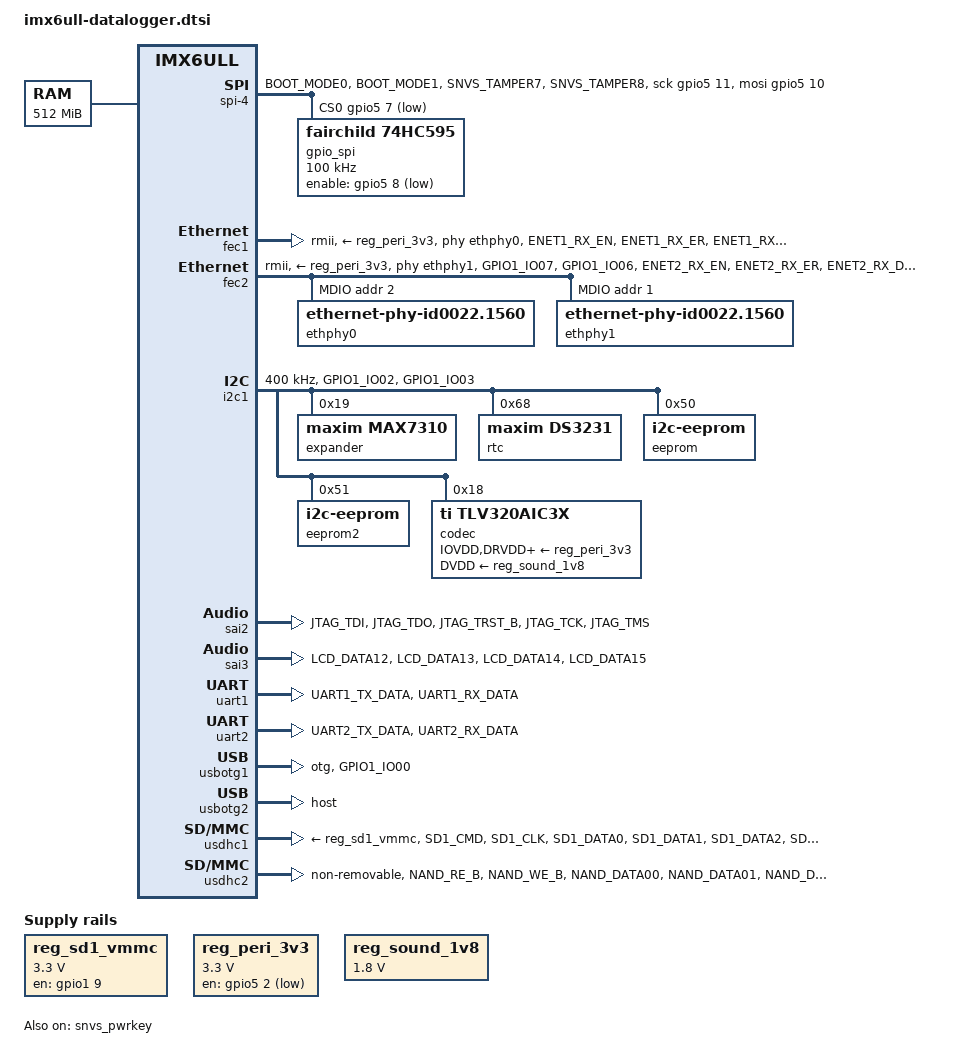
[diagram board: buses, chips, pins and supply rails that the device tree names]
// SPDX-License-Identifier: GPL-2.0
//
// Copyright (C) 2015 Freescale Semiconductor, Inc.

#include <dt-bindings/media/video-interfaces.h>
#include <dt-bindings/sound/tlv320aic31xx.h>

/ {
	chosen {
		stdout-path = &uart1;
	};

	memory@80000000 {
		device_type = "memory";
		reg = <0x80000000 0x20000000>;
	};

	reserved-memory {
		#address-cells = <1>;
		#size-cells = <1>;
		ranges;

		linux,cma {
			compatible = "shared-dma-pool";
			reusable;
			size = <0xa000000>;
			linux,cma-default;
		};
	};

	reg_sd1_vmmc: regulator-sd1-vmmc {
		compatible = "regulator-fixed";
		regulator-name = "VSD_3V3";
		regulator-min-microvolt = <3300000>;
		regulator-max-microvolt = <3300000>;
		gpio = <&gpio1 9 GPIO_ACTIVE_HIGH>;
		off-on-delay-us = <20000>;
		enable-active-high;
	};

	reg_peri_3v3: regulator-peri-3v3 {
		compatible = "regulator-fixed";
		pinctrl-names = "default";
		pinctrl-0 = <&pinctrl_peri_3v3>;
		regulator-name = "VPERI_3V3";
		regulator-min-microvolt = <3300000>;
		regulator-max-microvolt = <3300000>;
		gpio = <&gpio5 2 GPIO_ACTIVE_LOW>;
		/*
		 * If you want to want to make this dynamic please
		 * check schematics and test all affected peripherals:
		 *
		 * - sensors
		 * - ethernet phy
		 * - can
		 * - bluetooth
		 * - wm8960 audio codec
		 * - ov5640 camera
		 */
		regulator-always-on;
	};

	reg_sound_1v8: regulator-sound-1v8 {
		compatible = "regulator-fixed";
		regulator-name = "sound-1v8";
		regulator-min-microvolt = <1800000>;
		regulator-max-microvolt = <1800000>;
	};

	spi-4 {
		compatible = "spi-gpio";
		pinctrl-names = "default";
		pinctrl-0 = <&pinctrl_spi4>;
		status = "okay";
		sck-gpios = <&gpio5 11 0>;
		mosi-gpios = <&gpio5 10 0>;
		cs-gpios = <&gpio5 7 GPIO_ACTIVE_LOW>;
		num-chipselects = <1>;
		#address-cells = <1>;
		#size-cells = <0>;

		gpio_spi: gpio@0 {
			compatible = "fairchild,74hc595";
			gpio-controller;
			#gpio-cells = <2>;
			reg = <0>;
			registers-number = <1>;
			registers-default = /bits/ 8 <0x57>;
			spi-max-frequency = <100000>;
			enable-gpios = <&gpio5 8 GPIO_ACTIVE_LOW>;
		};
	};

	sound: sound {
		compatible = "simple-audio-card";
		simple-audio-card,name = "tlv320aic3x";
		simple-audio-card,format = "i2s";
		simple-audio-card,bitclock-master = <&dailink_master>;
		simple-audio-card,frame-master = <&dailink_master>;
		simple-audio-card,widgets =
			"Microphone", "Microphone Jack",
			"Headphone Output", "Headphone Jack";
		simple-audio-card,routing =
			"Headphone Jack", "HPLOUT",
			"Headphone Jack", "HPROUT",
			"LINE1L", "Left Line1L Mux",
			"LINE1R", "Left Line1R Mux";

		simple-audio-card,cpu {
			sound-dai = <&sai2>;
			clocks = <&clks IMX6UL_CLK_SAI2>;
			system-clock-direction-out;
		};
		
		dailink_master: simple-audio-card,codec {
			sound-dai = <&codec>;
			clocks = <&clks IMX6UL_CLK_SAI2>;
			clock-names = "mclk";
		};
	};

	sound2: sound-2  {
		compatible = "simple-audio-card";
		simple-audio-card,name = "ICS43434 Microphone's";
		simple-audio-card,format = "i2s";
		simple-audio-card,bitclock-master = <&dailink_master2>;
		simple-audio-card,frame-master = <&dailink_master2>;
		simple-audio-card,widgets =
			"Microphone", "Right Mic",
			"Microphone", "Left Mic";

		dailink_master2: simple-audio-card,cpu {
			sound-dai = <&sai3>;
			clocks = <&clks IMX6UL_CLK_SAI3>;
			system-clock-direction-out;
		};

		simple-audio-card,codec {
			sound-dai = <&ics43434>;
			clocks = <&clks IMX6UL_CLK_SAI3>;
			clock-names = "mclk";
		};
	};

	ics43434: ics43434@0 {
		#sound-dai-cells = <0>;
		compatible = "invensense,ics43432";
		status = "okay";
	};

};

&clks {
	assigned-clocks = <&clks IMX6UL_CLK_PLL4_AUDIO_DIV>;
	assigned-clock-rates = <786432000>;
};

&fec1 {
	pinctrl-names = "default";
	pinctrl-0 = <&pinctrl_enet1>;
	phy-mode = "rmii";
	phy-handle = <&ethphy0>;
	phy-supply = <&reg_peri_3v3>;
	status = "okay";
};

&fec2 {
	pinctrl-names = "default";
	pinctrl-0 = <&pinctrl_enet2>;
	phy-mode = "rmii";
	phy-handle = <&ethphy1>;
	phy-supply = <&reg_peri_3v3>;
	status = "okay";

	mdio {
		#address-cells = <1>;
		#size-cells = <0>;

		ethphy0: ethernet-phy@2 {
			compatible = "ethernet-phy-id0022.1560";
			reg = <2>;
			micrel,led-mode = <1>;
			clocks = <&clks IMX6UL_CLK_ENET_REF>;
			clock-names = "rmii-ref";
		};

		ethphy1: ethernet-phy@1 {		
			compatible = "ethernet-phy-id0022.1560";
			reg = <1>;	
			micrel,led-mode = <1>;
			clocks = <&clks IMX6UL_CLK_ENET2_REF>;
			clock-names = "rmii-ref";
		};
	};
};


&gpio_spi {
	eth0-phy-hog {
		gpio-hog;
		gpios = <1 GPIO_ACTIVE_HIGH>;
		output-high;
		line-name = "eth0-phy";
	};

	eth1-phy-hog {
		gpio-hog;
		gpios = <2 GPIO_ACTIVE_HIGH>;
		output-high;
		line-name = "eth1-phy";
	};
};

&i2c1 {
	clock-frequency = <400000>;
	pinctrl-names = "default";
	pinctrl-0 = <&pinctrl_i2c1>;
	status = "okay";
	// Added for eeprom
	#address-cells = <1>;
	#size-cells = <0>;

	expander: max7310@19 {
		compatible = "maxim,max7310";
		reg = <0x19>;
		gpio-controller;
	};
	
	rtc: rtc@68 {
		compatible = "maxim,ds3231";
		reg = <0x68>;
	};

	// 24AA025E48 doesn't work :(
	eeprom@50 {
		compatible = "i2c-eeprom";
        reg = <0x50>;
        pagesize = <16>;
        status = "okay";

		eth0_addr: eth-mac-addr@fa {
			reg = <0xfa 0x6>;
		};
	};

	eeprom2@51 {
		compatible = "i2c-eeprom";
        reg = <0x51>;
        pagesize = <16>;
        status = "okay";

		eth1_addr: eth-mac-addr1@fa {
			reg = <0xfa 0x6>;
		};
	};

	codec: tlv320aic31xx@18 {
		compatible = "ti,tlv320aic3x";
		pinctrl-names = "default";
		reg = <0x18>;
		#sound-dai-cells = <0>;


		IOVDD-supply = <&reg_peri_3v3>;
		DVDD-supply = <&reg_sound_1v8>;
		DRVDD-supply = <&reg_peri_3v3>;
		HPVDD-supply = <&reg_peri_3v3>;
		SPRVDD-supply = <&reg_peri_3v3>;
		SPLVDD-supply = <&reg_peri_3v3>;
		AVDD-supply = <&reg_peri_3v3>;

		clocks = <&clks IMX6UL_CLK_SAI2>; 
        clock-names = "mclk";
	};

};

&sai2 {
	pinctrl-names = "default";
	pinctrl-0 = <&pinctrl_sai2>;
	assigned-clocks = <&clks IMX6UL_CLK_SAI2_SEL>,
			  <&clks IMX6UL_CLK_SAI2>;
	assigned-clock-parents = <&clks IMX6UL_CLK_PLL4_AUDIO_DIV>;
	assigned-clock-rates = <0>, <12288000>;
	// assigned-clock-rates = <24576000>;
	fsl,sai-mclk-direction-output;
	status = "okay";
};

&sai3 {
	pinctrl-names = "default";
	pinctrl-0 = <&pinctrl_sai3>;
	assigned-clocks = <&clks IMX6UL_CLK_SAI3_SEL>,
			  <&clks IMX6UL_CLK_SAI3>;
	assigned-clock-parents = <&clks IMX6UL_CLK_PLL4_AUDIO_DIV>;
	assigned-clock-rates = <0>, <12288000>;
	fsl,sai-mclk-direction-output;
	status = "okay";
};

&snvs_poweroff {
	status = "okay";
};

&snvs_pwrkey {
	status = "okay";
};

&uart1 {
	pinctrl-names = "default";
	pinctrl-0 = <&pinctrl_uart1>;
	status = "okay";
};

&uart2 {
	pinctrl-names = "default";
	pinctrl-0 = <&pinctrl_uart2>;
	status = "okay";
};

&usbotg1 {
	dr_mode = "otg";
	pinctrl-names = "default";
	pinctrl-0 = <&pinctrl_usb_otg1>;
	status = "okay";
};

&usbotg2 {
	dr_mode = "host";
	disable-over-current;
	status = "okay";
};

&usbphy1 {
	fsl,tx-d-cal = <0x5>;
};

&usbphy2 {
	fsl,tx-d-cal = <0x5>;
};

&usdhc1 {
	pinctrl-names = "default", "state_100mhz", "state_200mhz";
	// pinctrl-names = "default";
	pinctrl-0 = <&pinctrl_usdhc1>;
	pinctrl-1 = <&pinctrl_usdhc1_100mhz>;
	pinctrl-2 = <&pinctrl_usdhc1_200mhz>;
	cd-gpios = <&gpio1 19 GPIO_ACTIVE_LOW>;
	keep-power-in-suspend;
	wakeup-source;
	vmmc-supply = <&reg_sd1_vmmc>;
	status = "okay";
};

&usdhc2 {
	pinctrl-names = "default";
	pinctrl-0 = <&pinctrl_usdhc2>;
	non-removable;
	keep-power-in-suspend;
	wakeup-source;
	status = "okay";
};

&wdog1 {
	pinctrl-names = "default";
	pinctrl-0 = <&pinctrl_wdog>;
	fsl,ext-reset-output;
};



&iomuxc {
	pinctrl-names = "default";

	pinctrl_ressurect: ressurectgrp {
		fsl,pins = <
			MX6UL_PAD_LCD_DATA05__GPIO3_IO10 0x1b0b0
		>;
	};

	pinctrl_sysleds: sysledsgrp {
		fsl,pins = <
			MX6UL_PAD_NAND_DATA05__GPIO4_IO07 0x0b0b0
			MX6UL_PAD_NAND_DATA06__GPIO4_IO08 0x0b0b0
		>;
	};

	pinctrl_enet1: enet1grp {
		fsl,pins = <
			MX6UL_PAD_ENET1_RX_EN__ENET1_RX_EN	0x1b0b0
			MX6UL_PAD_ENET1_RX_ER__ENET1_RX_ER	0x1b0b0
			MX6UL_PAD_ENET1_RX_DATA0__ENET1_RDATA00	0x1b0b0
			MX6UL_PAD_ENET1_RX_DATA1__ENET1_RDATA01	0x1b0b0
			MX6UL_PAD_ENET1_TX_EN__ENET1_TX_EN	0x1b0b0
			MX6UL_PAD_ENET1_TX_DATA0__ENET1_TDATA00	0x1b0b0
			MX6UL_PAD_ENET1_TX_DATA1__ENET1_TDATA01	0x1b0b0
			MX6UL_PAD_ENET1_TX_CLK__ENET1_REF_CLK1	0x4001b031
		>;
	};

	pinctrl_enet2: enet2grp {
		fsl,pins = <
			MX6UL_PAD_GPIO1_IO07__ENET2_MDC		0x1b0b0
			MX6UL_PAD_GPIO1_IO06__ENET2_MDIO	0x1b0b0
			MX6UL_PAD_ENET2_RX_EN__ENET2_RX_EN	0x1b0b0
			MX6UL_PAD_ENET2_RX_ER__ENET2_RX_ER	0x1b0b0
			MX6UL_PAD_ENET2_RX_DATA0__ENET2_RDATA00	0x1b0b0
			MX6UL_PAD_ENET2_RX_DATA1__ENET2_RDATA01	0x1b0b0
			MX6UL_PAD_ENET2_TX_EN__ENET2_TX_EN	0x1b0b0
			MX6UL_PAD_ENET2_TX_DATA0__ENET2_TDATA00	0x1b0b0
			MX6UL_PAD_ENET2_TX_DATA1__ENET2_TDATA01	0x1b0b0
			MX6UL_PAD_ENET2_TX_CLK__ENET2_REF_CLK2	0x4001b031
		>;
	};


	pinctrl_i2c1: i2c1grp {
			fsl,pins = <
				MX6UL_PAD_GPIO1_IO02__I2C1_SCL 0x4001b8b0
                                MX6UL_PAD_GPIO1_IO03__I2C1_SDA 0x4001b8b0
				//MX6UL_PAD_GPIO1_IO02__I2C1_SCL      0x000010B0
				//MX6UL_PAD_GPIO1_IO03__I2C1_SDA      0x000010B0
			>;	
		};

	pinctrl_i2c2: i2c2grp {
		fsl,pins = <
			MX6UL_PAD_UART5_TX_DATA__I2C2_SCL 0x4001b8b0
			MX6UL_PAD_UART5_RX_DATA__I2C2_SDA 0x4001b8b0
		>;
	};

	pinctrl_sai2: sai2grp {
		fsl,pins = <
			MX6UL_PAD_JTAG_TDI__SAI2_TX_BCLK	0x17088
			MX6UL_PAD_JTAG_TDO__SAI2_TX_SYNC	0x17088
			MX6UL_PAD_JTAG_TRST_B__SAI2_TX_DATA	0x11088
			MX6UL_PAD_JTAG_TCK__SAI2_RX_DATA	0x11088
			MX6UL_PAD_JTAG_TMS__SAI2_MCLK		0x17088
		>;
	};

	pinctrl_sai3: sai3grp {
		fsl,pins = <
			MX6UL_PAD_LCD_DATA12__SAI3_TX_SYNC 0x17088
			MX6UL_PAD_LCD_DATA13__SAI3_TX_BCLK 0x17088
			MX6UL_PAD_LCD_DATA14__SAI3_RX_DATA 0x11088
			MX6UL_PAD_LCD_DATA15__SAI3_TX_DATA 0x11088
		>;
	};


	pinctrl_peri_3v3: peri3v3grp {
		fsl,pins = <
			MX6UL_PAD_SNVS_TAMPER2__GPIO5_IO02	0x1b0b0
		>;
	};


	pinctrl_sim2: sim2grp {
		fsl,pins = <
			MX6UL_PAD_CSI_DATA03__SIM2_PORT1_PD		0xb808
			MX6UL_PAD_CSI_DATA04__SIM2_PORT1_CLK		0x31
			MX6UL_PAD_CSI_DATA05__SIM2_PORT1_RST_B		0xb808
			MX6UL_PAD_CSI_DATA06__SIM2_PORT1_SVEN		0xb808
			MX6UL_PAD_CSI_DATA07__SIM2_PORT1_TRXD		0xb809
			MX6UL_PAD_CSI_DATA02__GPIO4_IO23		0x3008
		>;
	};

	pinctrl_spi4: spi4grp {
		fsl,pins = <
			MX6UL_PAD_BOOT_MODE0__GPIO5_IO10	0x70a1
			MX6UL_PAD_BOOT_MODE1__GPIO5_IO11	0x70a1
			MX6UL_PAD_SNVS_TAMPER7__GPIO5_IO07	0x70a1
			MX6UL_PAD_SNVS_TAMPER8__GPIO5_IO08	0x80000000
		>;
	};

// UART START ------------------------------------------------
		pinctrl_uart1: uart1grp {
			fsl,pins = <
				MX6UL_PAD_UART1_TX_DATA__UART1_DCE_TX 0x1b0b1
				MX6UL_PAD_UART1_RX_DATA__UART1_DCE_RX 0x1b0b1
			>;
		};


		pinctrl_uart2: uart2grp {
			fsl,pins = <
				MX6UL_PAD_UART2_TX_DATA__UART2_DCE_TX 0x1b0b1
				MX6UL_PAD_UART2_RX_DATA__UART2_DCE_RX 0x1b0b1
			>;
		};
		
		pinctrl_uart3: uart3grp {
			fsl,pins = <
				MX6UL_PAD_UART3_TX_DATA__UART3_DCE_TX 0x1b0b1
				MX6UL_PAD_UART3_RX_DATA__UART3_DCE_RX 0x1b0b1
			>;
		};
		
		pinctrl_uart4: uart4grp {
			fsl,pins = <
				MX6UL_PAD_UART4_TX_DATA__UART4_DCE_TX 0x1b0b1
				MX6UL_PAD_UART4_RX_DATA__UART4_DCE_RX 0x1b0b1
			>;
		};
		
		pinctrl_uart5: uart5grp {
			fsl,pins = <
				MX6UL_PAD_UART5_TX_DATA__UART5_DCE_TX 0x1b0b1
				MX6UL_PAD_UART5_RX_DATA__UART5_DCE_RX 0x1b0b1
			>;
		};
	
		pinctrl_uart6: uart6grp {
			fsl,pins = <
				MX6UL_PAD_CSI_MCLK__UART6_DCE_TX 0x1b0b1
				MX6UL_PAD_CSI_PIXCLK__UART6_DCE_RX 0x1b0b1
			>;
		};
		
		pinctrl_uart7: uart7grp {
			fsl,pins = <
				MX6UL_PAD_LCD_DATA16__UART7_DCE_TX 0x1b0b1
				MX6UL_PAD_LCD_DATA17__UART7_DCE_RX 0x1b0b1
			>;
		};
		
		pinctrl_uart8: uart8grp {
			fsl,pins = <
				MX6UL_PAD_LCD_DATA20__UART8_DCE_TX 0x1b0b1
				MX6UL_PAD_LCD_DATA21__UART8_DCE_RX 0x1b0b1
			>;
		};


// UART STOP ------------------------------------------------

	

	pinctrl_usb_otg1: usbotg1grp {
		fsl,pins = <
			MX6UL_PAD_GPIO1_IO00__ANATOP_OTG1_ID	0x17059
		>;
	};

	pinctrl_usdhc1: usdhc1grp {
		fsl,pins = <
			MX6UL_PAD_SD1_CMD__USDHC1_CMD     	0x17059
			MX6UL_PAD_SD1_CLK__USDHC1_CLK		0x10071
			MX6UL_PAD_SD1_DATA0__USDHC1_DATA0 	0x17059
			MX6UL_PAD_SD1_DATA1__USDHC1_DATA1 	0x17059
			MX6UL_PAD_SD1_DATA2__USDHC1_DATA2 	0x17059
			MX6UL_PAD_SD1_DATA3__USDHC1_DATA3 	0x17059
			MX6UL_PAD_UART1_RTS_B__GPIO1_IO19       0x17059 /* SD1 CD */
			MX6UL_PAD_GPIO1_IO05__USDHC1_VSELECT    0x17059 /* SD1 VSELECT */
			MX6UL_PAD_NAND_WP_B__USDHC1_RESET_B       0x17059 /* SD1 RESET */
		>;
	};

	pinctrl_usdhc1_100mhz: usdhc1grp100mhz {
		fsl,pins = <
			MX6UL_PAD_SD1_CMD__USDHC1_CMD     0x170b9
			MX6UL_PAD_SD1_CLK__USDHC1_CLK     0x100b9
			MX6UL_PAD_SD1_DATA0__USDHC1_DATA0 0x170b9
			MX6UL_PAD_SD1_DATA1__USDHC1_DATA1 0x170b9
			MX6UL_PAD_SD1_DATA2__USDHC1_DATA2 0x170b9
			MX6UL_PAD_SD1_DATA3__USDHC1_DATA3 0x170b9

		>;
	};

	pinctrl_usdhc1_200mhz: usdhc1grp200mhz {
		fsl,pins = <
			MX6UL_PAD_SD1_CMD__USDHC1_CMD     0x170f9
			MX6UL_PAD_SD1_CLK__USDHC1_CLK     0x100f9
			MX6UL_PAD_SD1_DATA0__USDHC1_DATA0 0x170f9
			MX6UL_PAD_SD1_DATA1__USDHC1_DATA1 0x170f9
			MX6UL_PAD_SD1_DATA2__USDHC1_DATA2 0x170f9
			MX6UL_PAD_SD1_DATA3__USDHC1_DATA3 0x170f9
		>;
	};

	pinctrl_usdhc2: usdhc2grp {
		fsl,pins = <
			MX6UL_PAD_NAND_RE_B__USDHC2_CLK     0x17059
			MX6UL_PAD_NAND_WE_B__USDHC2_CMD     0x17059
			MX6UL_PAD_NAND_DATA00__USDHC2_DATA0 0x17059
			MX6UL_PAD_NAND_DATA01__USDHC2_DATA1 0x17059
			MX6UL_PAD_NAND_DATA02__USDHC2_DATA2 0x17059
			MX6UL_PAD_NAND_DATA03__USDHC2_DATA3 0x17059
		>;
	};

	pinctrl_usdhc2_8bit: usdhc2grp_8bit {
		fsl,pins = <
			MX6UL_PAD_NAND_RE_B__USDHC2_CLK     0x10069
			MX6UL_PAD_NAND_WE_B__USDHC2_CMD     0x17059
			MX6UL_PAD_NAND_DATA00__USDHC2_DATA0 0x17059
			MX6UL_PAD_NAND_DATA01__USDHC2_DATA1 0x17059
			MX6UL_PAD_NAND_DATA02__USDHC2_DATA2 0x17059
			MX6UL_PAD_NAND_DATA03__USDHC2_DATA3 0x17059
			MX6UL_PAD_NAND_DATA04__USDHC2_DATA4 0x17059
			MX6UL_PAD_NAND_DATA05__USDHC2_DATA5 0x17059
			MX6UL_PAD_NAND_DATA06__USDHC2_DATA6 0x17059
			MX6UL_PAD_NAND_DATA07__USDHC2_DATA7 0x17059
		>;
	};

	pinctrl_usdhc2_8bit_100mhz: usdhc2grp_8bit_100mhz {
		fsl,pins = <
			MX6UL_PAD_NAND_RE_B__USDHC2_CLK     0x100b9
			MX6UL_PAD_NAND_WE_B__USDHC2_CMD     0x170b9
			MX6UL_PAD_NAND_DATA00__USDHC2_DATA0 0x170b9
			MX6UL_PAD_NAND_DATA01__USDHC2_DATA1 0x170b9
			MX6UL_PAD_NAND_DATA02__USDHC2_DATA2 0x170b9
			MX6UL_PAD_NAND_DATA03__USDHC2_DATA3 0x170b9
			MX6UL_PAD_NAND_DATA04__USDHC2_DATA4 0x170b9
			MX6UL_PAD_NAND_DATA05__USDHC2_DATA5 0x170b9
			MX6UL_PAD_NAND_DATA06__USDHC2_DATA6 0x170b9
			MX6UL_PAD_NAND_DATA07__USDHC2_DATA7 0x170b9
		>;
	};

	pinctrl_usdhc2_8bit_200mhz: usdhc2grp_8bit_200mhz {
		fsl,pins = <
			MX6UL_PAD_NAND_RE_B__USDHC2_CLK     0x100f9
			MX6UL_PAD_NAND_WE_B__USDHC2_CMD     0x170f9
			MX6UL_PAD_NAND_DATA00__USDHC2_DATA0 0x170f9
			MX6UL_PAD_NAND_DATA01__USDHC2_DATA1 0x170f9
			MX6UL_PAD_NAND_DATA02__USDHC2_DATA2 0x170f9
			MX6UL_PAD_NAND_DATA03__USDHC2_DATA3 0x170f9
			MX6UL_PAD_NAND_DATA04__USDHC2_DATA4 0x170f9
			MX6UL_PAD_NAND_DATA05__USDHC2_DATA5 0x170f9
			MX6UL_PAD_NAND_DATA06__USDHC2_DATA6 0x170f9
			MX6UL_PAD_NAND_DATA07__USDHC2_DATA7 0x170f9
		>;
	};

	pinctrl_wdog: wdoggrp {
		fsl,pins = <
			MX6UL_PAD_LCD_RESET__WDOG1_WDOG_ANY    0x30b0
		>;
	};
};
